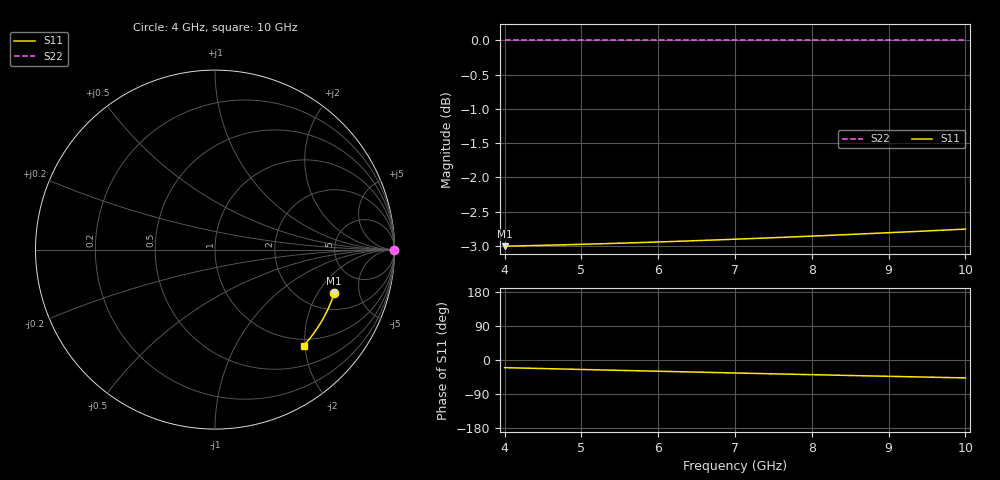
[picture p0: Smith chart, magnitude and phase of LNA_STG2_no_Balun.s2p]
! Touchstone Ver. 1.0
! Number of ports is 2
# Hz	S	RI	R	100.000000	200.000000
! SCATTERING PARAMETERS  :
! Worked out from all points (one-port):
!   61 points, 4 GHz to 10 GHz, reference 100 ohm
!   lowest |S11| = -3.0 dB at 4 GHz (marker M1), VSWR 5.84, Z = 289 - j283 ohm
!   |S11| at or under -10 dB: nowhere
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4e9  0.6641 -0.2442  0 0  0 0  1 0
4.2e9  0.6603 -0.2555  0 0  0 0  1 0
4.5e9  0.6543 -0.2722  0 0  0 0  1 0
4.7e9  0.6501 -0.2832  0 0  0 0  1 0
5e9  0.6435 -0.2996  0 0  0 0  1 0
5.2e9  0.6389 -0.3104  0 0  0 0  1 0
5.5e9  0.6318 -0.3264  0 0  0 0  1 0
5.7e9  0.6269 -0.3369  0 0  0 0  1 0
6e9  0.6193 -0.3526  0 0  0 0  1 0
6.5e9  0.606 -0.3781  0 0  0 0  1 0
7e9  0.5919 -0.4028  0 0  0 0  1 0
7.5e9  0.5771 -0.4268  0 0  0 0  1 0
7.8e9  0.5679 -0.4408  0 0  0 0  1 0
8e9  0.5616 -0.45  0 0  0 0  1 0
8.3e9  0.552 -0.4636  0 0  0 0  1 0
8.5e9  0.5456 -0.4725  0 0  0 0  1 0
8.8e9  0.5357 -0.4855  0 0  0 0  1 0
9e9  0.529 -0.4941  0 0  0 0  1 0
9.3e9  0.5188 -0.5066  0 0  0 0  1 0
9.5e9  0.5119 -0.5148  0 0  0 0  1 0
9.8e9  0.5014 -0.5269  0 0  0 0  1 0
1e10  0.4943 -0.5347  0 0  0 0  1 0
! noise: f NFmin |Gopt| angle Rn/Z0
4e+09  inf  nan  nan  inf
4.6e+09  inf  nan  nan  inf
5.3e+09  inf  nan  nan  inf
6e+09  inf  nan  nan  inf
6.6e+09  inf  nan  nan  inf
7.3e+09  inf  nan  nan  inf
8e+09  inf  nan  nan  inf
8.6e+09  inf  nan  nan  inf
9.3e+09  inf  nan  nan  inf
1e+10  inf  nan  nan  inf
